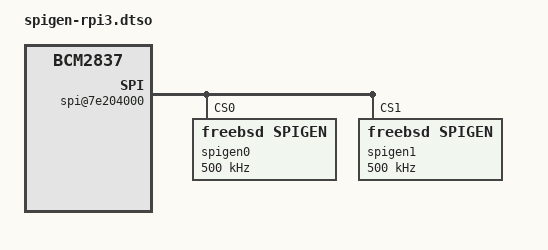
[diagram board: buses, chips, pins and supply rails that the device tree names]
/*-
 * SPDX-License-Identifier: BSD-2-Clause-FreeBSD
 *
 * Copyright (c) 2019 Bob Frazier <bobf@mrp3.com>
 *
 * Redistribution and use in source and binary forms, with or without
 * modification, are permitted provided that the following conditions
 * are met:
 * 1. Redistributions of source code must retain the above copyright
 *    notice, this list of conditions and the following disclaimer.
 * 2. Redistributions in binary form must reproduce the above copyright
 *    notice, this list of conditions and the following disclaimer in the
 *    documentation and/or other materials provided with the distribution.
 *
 * THIS SOFTWARE IS PROVIDED BY THE AUTHOR AND CONTRIBUTORS ``AS IS'' AND
 * ANY EXPRESS OR IMPLIED WARRANTIES, INCLUDING, BUT NOT LIMITED TO, THE
 * IMPLIED WARRANTIES OF MERCHANTABILITY AND FITNESS FOR A PARTICULAR PURPOSE
 * ARE DISCLAIMED.  IN NO EVENT SHALL THE AUTHOR OR CONTRIBUTORS BE LIABLE
 * FOR ANY DIRECT, INDIRECT, INCIDENTAL, SPECIAL, EXEMPLARY, OR CONSEQUENTIAL
 * DAMAGES (INCLUDING, BUT NOT LIMITED TO, PROCUREMENT OF SUBSTITUTE GOODS
 * OR SERVICES; LOSS OF USE, DATA, OR PROFITS; OR BUSINESS INTERRUPTION)
 * HOWEVER CAUSED AND ON ANY THEORY OF LIABILITY, WHETHER IN CONTRACT, STRICT
 * LIABILITY, OR TORT (INCLUDING NEGLIGENCE OR OTHERWISE) ARISING IN ANY WAY
 * OUT OF THE USE OF THIS SOFTWARE, EVEN IF ADVISED OF THE POSSIBILITY OF
 * SUCH DAMAGE.
 *
 * $FreeBSD$
 */

/dts-v1/;
/plugin/;

/ {
	compatible = "brcm,bcm2837";
};
	
&{/soc/spi@7e204000} {
	status = "okay";
	spigen0: spigen0 {
		compatible = "freebsd,spigen";
		reg = <0>;
		spi-max-frequency = <500000>; /* Req'd property, override with spi(8) */
		status = "okay";
	};
	spigen1: spigen1 {
		compatible = "freebsd,spigen";
		reg = <1>;
		spi-max-frequency = <500000>; /* Req'd property, override with spi(8) */
		status = "okay";
	};
};

&{/soc/gpio@7e200000/spi0_cs_pins} {
	brcm,pins = <8 7>;
	brcm,function = <4>; /* ALT0 */
};

